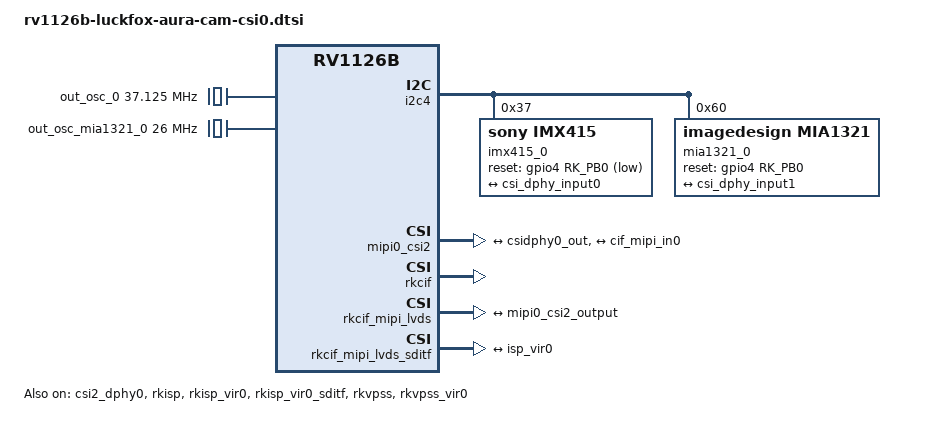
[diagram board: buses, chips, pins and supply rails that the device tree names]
// SPDX-License-Identifier: (GPL-2.0+ OR MIT)
/*
 * Copyright (c) 2025 Rockchip Electronics Co., Ltd.
 *
 */

/ {
	cam_ircut0: cam_ircut0 {
		status = "okay";
		compatible = "rockchip,ircut";
		// led-gpios = <&gpio4 RK_PA0 GPIO_ACTIVE_LOW>;
		// ircut-open-gpios = <&gpio4 RK_PC6 GPIO_ACTIVE_HIGH>;
		// ircut-close-gpios  = <&gpio4 RK_PC7 GPIO_ACTIVE_HIGH>;
		rockchip,camera-module-index = <0>;
		rockchip,camera-module-facing = "back";
	};

	out_osc_0: out-osc-0 {
		compatible = "fixed-clock";
		clock-output-names = "out-osc-0";
		clock-frequency = <37125000>;
		#clock-cells = <0>;
	};

	out_osc_mia1321_0: out-osc-mia1321-0 {
		compatible = "fixed-clock";
		clock-output-names = "out-osc-mia1321-0";
		clock-frequency = <26000000>;
		#clock-cells = <0>;
	};
};

&csi2_dphy0 {
	status = "okay";

	ports {
		#address-cells = <1>;
		#size-cells = <0>;
		port@0 {
			reg = <0>;
			#address-cells = <1>;
			#size-cells = <0>;

			csi_dphy_input0: endpoint@1 {
				reg = <1>;
				remote-endpoint = <&imx415_0_out>;
				data-lanes = <1 2 3 4>;
			};

			csi_dphy_input1: endpoint@2 {
				reg = <2>;
				remote-endpoint = <&mia1321_0_out>;
				data-lanes = <1 2>;
			};
		};
		port@1 {
			reg = <1>;
			#address-cells = <1>;
			#size-cells = <0>;

			csidphy0_out: endpoint@0 {
				reg = <0>;
				remote-endpoint = <&mipi0_csi2_input>;
			};
		};
	};
};

&i2c4 {
	status = "okay";
	pinctrl-0 = <&i2c4m2_pins>;

	imx415_0: imx415_0@37 {
		compatible = "sony,imx415";
		reg = <0x37>;
		clocks = <&out_osc_0>;
		clock-names = "xvclk";
		pinctrl-names = "default";
		pinctrl-0 = <&cam_reset_gpio>;
		reset-gpios = <&gpio4 RK_PB0 GPIO_ACTIVE_LOW>;
		rockchip,camera-module-index = <0>;
		rockchip,camera-module-facing = "back";
		rockchip,camera-module-name = "default";
		rockchip,camera-module-lens-name = "default";
		lens-focus = <&cam_ircut0>;
		port {
			imx415_0_out: endpoint {
				remote-endpoint = <&csi_dphy_input0>;
				data-lanes = <1 2 3 4>;
			};
		};
	};

	mia1321_0: mia1321_0@60 {
		compatible = "imagedesign,mia1321";
		reg = <0x60>;
		clocks = <&out_osc_mia1321_0>;
		clock-names = "xvclk";
		pinctrl-names = "default";
		pinctrl-0 = <&cam_reset_gpio>;
		reset-gpios = <&gpio4 RK_PB0 GPIO_ACTIVE_HIGH>;
		rockchip,camera-module-index = <0>;
		rockchip,camera-module-facing = "back";
		rockchip,camera-module-name = "default";
		rockchip,camera-module-lens-name = "default";
		port {
				mia1321_0_out: endpoint {
					remote-endpoint = <&csi_dphy_input1>;
					data-lanes = <1 2>;
				};
		};
	};
};

&pinctrl {
	cam {
		cam_reset_gpio: cam-reset-gpio {
			rockchip,pins = <4 RK_PB0 RK_FUNC_GPIO &pcfg_pull_up>;
		};
	};
};

&mipi0_csi2 {
	status = "okay";

	ports {
		#address-cells = <1>;
		#size-cells = <0>;

		port@0 {
			reg = <0>;
			#address-cells = <1>;
			#size-cells = <0>;

			mipi0_csi2_input: endpoint@1 {
				reg = <1>;
				remote-endpoint = <&csidphy0_out>;
			};
		};

		port@1 {
			reg = <1>;
			#address-cells = <1>;
			#size-cells = <0>;

			mipi0_csi2_output: endpoint@0 {
				reg = <0>;
				remote-endpoint = <&cif_mipi_in0>;
			};
		};
	};
};

&rkcif {
	status = "okay";
};

&rkcif_mipi_lvds {
	status = "okay";

	port {
		cif_mipi_in0: endpoint {
			remote-endpoint = <&mipi0_csi2_output>;
		};
	};
};

&rkcif_mipi_lvds_sditf {
	status = "okay";

	port {
		mipi_lvds_sditf: endpoint {
			remote-endpoint = <&isp_vir0>;
		};
	};
};

&rkcif_mmu {
	status = "okay";
};

&rkisp {
	status = "okay";
};

&rkisp_mmu {
	status = "okay";
};

&rkisp_vir0 {
	status = "okay";

	port {
		#address-cells = <1>;
		#size-cells = <0>;

		isp_vir0: endpoint@0 {
			reg = <0>;
			remote-endpoint = <&mipi_lvds_sditf>;
		};
	};
};

&rkisp_vir0_sditf {
	status = "okay";
};

&rkvpss {
	status = "okay";
	dvbm = <&rkdvbm>;
};

&rkvpss_mmu {
	status = "okay";
};

&rkvpss_vir0 {
	status = "okay";
};
